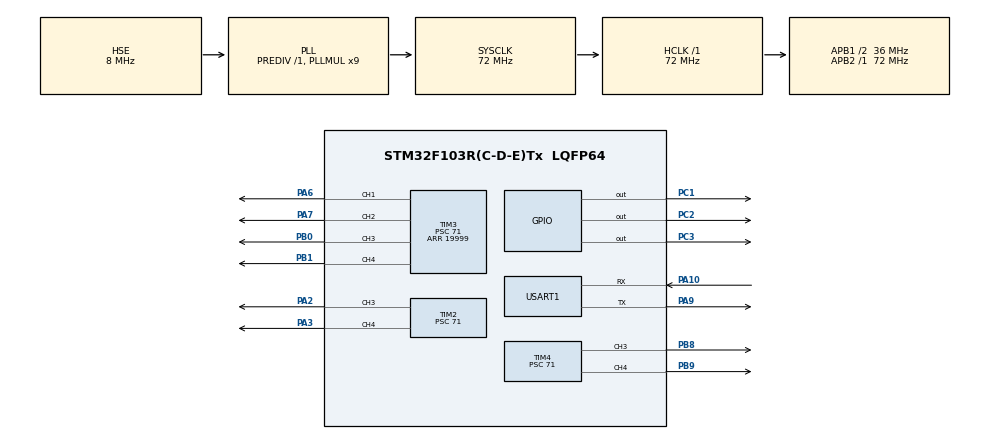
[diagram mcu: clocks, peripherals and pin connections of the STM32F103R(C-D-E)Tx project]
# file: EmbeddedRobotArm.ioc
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Mcu.Family=STM32F1
Mcu.Name=STM32F103R(C-D-E)Tx
Mcu.Package=LQFP64
NVIC.PriorityGroup=NVIC_PRIORITYGROUP_4
NVIC.USART1_IRQn=true\:0\:0\:false\:false\:true\:true\:true\:true
PA10.Mode=Asynchronous
PA10.Signal=USART1_RX
PA13.Mode=Serial_Wire
PA13.Signal=SYS_JTMS-SWDIO
PA14.Mode=Serial_Wire
PA14.Signal=SYS_JTCK-SWCLK
PA2.Signal=S_TIM2_CH3
PA3.Signal=S_TIM2_CH4
PA6.Signal=S_TIM3_CH1
PA7.Signal=S_TIM3_CH2
PA9.Mode=Asynchronous
PA9.Signal=USART1_TX
PB0.Signal=S_TIM3_CH3
PB1.Signal=S_TIM3_CH4
PB8.Signal=S_TIM4_CH3
PB9.Signal=S_TIM4_CH4
PC1.GPIO_PuPd=GPIO_PULLDOWN
PC1.GPIO_Speed=GPIO_SPEED_FREQ_HIGH
PC1.Signal=GPIO_Output
PC14-OSC32_IN.Mode=LSE-External-Oscillator
PC14-OSC32_IN.Signal=RCC_OSC32_IN
PC15-OSC32_OUT.Mode=LSE-External-Oscillator
PC15-OSC32_OUT.Signal=RCC_OSC32_OUT
PC2.GPIO_Speed=GPIO_SPEED_FREQ_LOW
PC2.PinState=GPIO_PIN_SET
PC2.Signal=GPIO_Output
PC3.GPIO_Speed=GPIO_SPEED_FREQ_LOW
PC3.PinState=GPIO_PIN_SET
PC3.Signal=GPIO_Output
PD0-OSC_IN.Mode=HSE-External-Oscillator
PD0-OSC_IN.Signal=RCC_OSC_IN
PD1-OSC_OUT.Mode=HSE-External-Oscillator
PD1-OSC_OUT.Signal=RCC_OSC_OUT
ProjectManager.HeapSize=0x200
ProjectManager.StackSize=0x400
ProjectManager.TargetToolchain=STM32CubeIDE
RCC.AHBFreq_Value=72000000
RCC.APB1CLKDivider=RCC_HCLK_DIV2
RCC.APB1Freq_Value=36000000
RCC.APB1TimFreq_Value=72000000
RCC.APB2Freq_Value=72000000
RCC.APB2TimFreq_Value=72000000
RCC.HCLKFreq_Value=72000000
RCC.PLLMUL=RCC_PLL_MUL9
RCC.PLLSourceVirtual=RCC_PLLSOURCE_HSE
RCC.SYSCLKFreq_VALUE=72000000
RCC.SYSCLKSource=RCC_SYSCLKSOURCE_PLLCLK
RCC.USBFreq_Value=72000000
SH.S_TIM2_CH3.0=TIM2_CH3,PWM Generation3 CH3
SH.S_TIM2_CH4.0=TIM2_CH4,PWM Generation4 CH4
SH.S_TIM3_CH1.0=TIM3_CH1,PWM Generation1 CH1
SH.S_TIM3_CH2.0=TIM3_CH2,PWM Generation2 CH2
SH.S_TIM3_CH3.0=TIM3_CH3,PWM Generation3 CH3
SH.S_TIM3_CH4.0=TIM3_CH4,PWM Generation4 CH4
SH.S_TIM4_CH3.0=TIM4_CH3,PWM Generation3 CH3
SH.S_TIM4_CH4.0=TIM4_CH4,PWM Generation4 CH4
TIM2.Channel-PWM\ Generation3\ CH3=TIM_CHANNEL_3
TIM2.Channel-PWM\ Generation4\ CH4=TIM_CHANNEL_4
TIM2.Period=19999
TIM2.Prescaler=71
TIM2.Pulse-PWM\ Generation3\ CH3=500
TIM2.Pulse-PWM\ Generation4\ CH4=500
TIM3.Channel-PWM\ Generation1\ CH1=TIM_CHANNEL_1
TIM3.Channel-PWM\ Generation2\ CH2=TIM_CHANNEL_2
TIM3.Channel-PWM\ Generation3\ CH3=TIM_CHANNEL_3
TIM3.Channel-PWM\ Generation4\ CH4=TIM_CHANNEL_4
TIM3.Period=19999
TIM3.Prescaler=71
TIM3.Pulse-PWM\ Generation1\ CH1=500
TIM3.Pulse-PWM\ Generation2\ CH2=500
TIM3.Pulse-PWM\ Generation3\ CH3=500
TIM3.Pulse-PWM\ Generation4\ CH4=500
TIM4.Channel-PWM\ Generation3\ CH3=TIM_CHANNEL_3
TIM4.Channel-PWM\ Generation4\ CH4=TIM_CHANNEL_4
TIM4.Period=19999
TIM4.Prescaler=71
TIM4.Pulse-PWM\ Generation3\ CH3=500
TIM4.Pulse-PWM\ Generation4\ CH4=500
USART1.VirtualMode=VM_ASYNC
VP_TIM2_VS_ClockSourceINT.Mode=Internal
VP_TIM3_VS_ClockSourceINT.Mode=Internal
VP_TIM4_VS_ClockSourceINT.Mode=Internal
board=custom

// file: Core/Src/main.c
/* USER CODE BEGIN Header */
/**
  ******************************************************************************
  * @file           : main.c
  * @brief          : Main program body
  ******************************************************************************
  * @attention
  *
  * Copyright (c) 2023 STMicroelectronics.
  * All rights reserved.
  *
  * This software is licensed under terms that can be found in the LICENSE file
  * in the root directory of this software component.
  * If no LICENSE file comes with this software, it is provided AS-IS.
  *
  ******************************************************************************
  */
/* USER CODE END Header */
#include "main.h"
#include "tim.h"
#include "usart.h"
#include "gpio.h"

void SystemClock_Config(void);

/* USER CODE BEGIN 0 */

void user_Function(uint8_t* string){
    uint8_t* pt = string + 1;
    uint8_t num = 0;
    while(*string != '+'){
        string++;
        pt = string + 1;
        num++;
    }
    if ((*pt == 'L' || *pt == 'l') &&
        (*(pt+1) == 'E' || *(pt+1) == 'e') &&
        (*(pt+2) == 'D' || *(pt+2) == 'd') &&
        (*(pt+3) == ',')) {
        pt = pt + 4;
        uint8_t idx;
        uint8_t led_num = 0;
        for (idx = 0; *(pt + idx) != ','; idx++) {
            led_num *= 10;
            led_num += *(pt + idx) - '0';
        }
        pt = pt + idx + 1;
        uint8_t led_sta = 0;
        for (idx = 0; *(pt + idx) != ','; idx++) {
            led_sta *= 10;
            led_sta += *(pt + idx) - '0';
        }
        if (led_num == 0) {
            if (led_sta == 0) {
                LED0_OFF();
                uint8_t TX_Str[] = "\r\nLED0: Close\r\n";
                HAL_UART_Transmit(&huart1, TX_Str, sizeof(TX_Str), 1000);
            } else if (led_sta == 1) {
                LED0_ON();
                uint8_t TX_Str[] = "\r\nLED0: Open\r\n";
                HAL_UART_Transmit(&huart1, TX_Str, sizeof(TX_Str), 1000);
            } else {
                uint8_t TX_Str[] = "\r\nLED0: Status Error\r\n";
                HAL_UART_Transmit(&huart1, TX_Str, sizeof(TX_Str), 1000);
            }
        } else if (led_num == 1) {
            if (led_sta == 0) {
                LED1_OFF();
                uint8_t TX_Str[] = "\r\nLED1: Close\r\n";
                HAL_UART_Transmit(&huart1, TX_Str, sizeof(TX_Str), 1000);
            } else if (led_sta == 1) {
                LED1_ON();
                uint8_t TX_Str[] = "\r\nLED1: Open\r\n";
                HAL_UART_Transmit(&huart1, TX_Str, sizeof(TX_Str), 1000);
            } else {
                uint8_t TX_Str[] = "\r\nLED1: Status Error\r\n";
                HAL_UART_Transmit(&huart1, TX_Str, sizeof(TX_Str), 1000);
            }
        } else {
            uint8_t TX_Str[] = "\r\nLED: Index Error\r\n";
            HAL_UART_Transmit(&huart1, TX_Str, sizeof(TX_Str), 1000);
        }
    }
    else if ((*pt == 'S' || *pt == 's') &&
             (*(pt+1) == 'E' || *(pt+1) == 'e') &&
             (*(pt+2) == 'R' || *(pt+2) == 'r') &&
             (*(pt+3) == ',')) {
        pt = pt + 4;
        uint8_t idx;
        uint8_t servo_num = 0;
        for (idx = 0; *(pt+idx)!= ','; idx++){
            servo_num *= 10;
            servo_num += *(pt+idx) - '0';
        }
        pt = pt + idx + 1;
        if (servo_num < 0 || servo_num > USED_SERVO_NUM){
            uint8_t TX_Str[] = "\r\nSERVO: Index Error\r\n";
            HAL_UART_Transmit(&huart1, TX_Str, sizeof(TX_Str), 1000);
        }
        else{
            uint16_t servo_pulse_t = 0;
            for (idx = 0; *(pt + idx) != ','; idx++) {
                servo_pulse_t *= 10;
                servo_pulse_t = servo_pulse_t + (uint16_t)(*(pt + idx) - '0');
            }

            servo_Move(servo_num, servo_pulse_t);

            uint8_t TX_Str[] = "\r\nSER: Move Successfully\r\n";
            HAL_UART_Transmit(&huart1, TX_Str, sizeof(TX_Str), 1000);
        }
    }
    else if ((*pt == 'S' || *pt == 's') &&
             (*(pt+1) == 'E' || *(pt+1) == 'e') &&
             (*(pt+2) == 'R' || *(pt+2) == 'r') &&
             (*(pt+3) == 'V' || *(pt+3) == 'v') &&
             (*(pt+4) == 'O' || *(pt+4) == 'o') &&
             (*(pt+5) == 'S' || *(pt+5) == 's') &&
             (*(pt+6) == ',')) {
        pt = pt + 7;
        uint8_t idx;
        uint8_t valid = 0;
        uint16_t angle_pulse[USED_SERVO_NUM] = {0};
        for(uint8_t i = 0; i < USED_SERVO_NUM; ++i){
            uint8_t flag = 0;
            for (idx = 0; *(pt + idx) != ','; idx++) {
                angle_pulse[i] *= 10;
                angle_pulse[i] = angle_pulse[i] + (uint16_t)(*(pt + idx) - '0');
            }
            if (angle_pulse[i] < 500 || angle_pulse[i] > 2500){
                valid = 1;
                break;
            }
            pt = pt + idx + 1;
            servo_pulse_last[i] = servo_pulse[i];
            servo_pulse[i] = angle_pulse[i];
        }
        if (valid == 0){
            uint8_t TX_Str[] = "\r\nSERVOS: Move Successfully\r\n";
            HAL_UART_Transmit(&huart1, TX_Str, sizeof(TX_Str), 1000);

            servo_Move2Goal();
        }
        else{
            uint8_t TX_Str[] = "\r\nSERVOS: Angle Setting Error\r\n";
            HAL_UART_Transmit(&huart1, TX_Str, sizeof(TX_Str), 1000);
        }
    }
    else{
        uint8_t TX_Str[] = "\r\nUnknown Command\r\n";
        HAL_UART_Transmit(&huart1, TX_Str, sizeof(TX_Str), 1000);
    }
}

/* USER CODE END 0 */

int main(void)
{

  /* MCU Configuration--------------------------------------------------------*/

  /* Reset of all peripherals, Initializes the Flash interface and the Systick. */
  HAL_Init();

  /* Configure the system clock */
  SystemClock_Config();

  /* Initialize all configured peripherals */
  MX_GPIO_Init();
  MX_TIM2_Init();
  MX_TIM3_Init();
  MX_TIM4_Init();
  MX_USART1_UART_Init();
  /* USER CODE BEGIN 2 */

    BEEP_ON();
    servo_Init();
    BEEP_OFF();

    uint8_t TX_Str1[] = "\r\nInit Successfully\r\n";
    uint8_t TX_Str2[] = "\r\nType: \"+FUNCTION,PARAMETER1,PARAMETER2,...\" to command the board. E.g.\"+LED,1,1,\" can open the LED1.\r\n";
    HAL_UART_Transmit(&huart1, TX_Str1, sizeof(TX_Str1), 1000);
    HAL_UART_Transmit(&huart1, TX_Str2, sizeof(TX_Str2), 1000);

    HAL_UART_Receive_IT(&huart1, (uint8_t *)rx_buffer, RXBUFFERSIZE);

  /* USER CODE END 2 */

  /* Infinite loop */
  while (1)
  {

    /* USER CODE BEGIN 3 */

      if (usart_rx_sta & 0x8000){
          user_Function(usart_rx_buf);
          usart_rx_sta = 0;
      }
      else {
          HAL_Delay(10);
      }

  }
  /* USER CODE END 3 */
}

void SystemClock_Config(void)
{
  RCC_OscInitTypeDef RCC_OscInitStruct = {0};
  RCC_ClkInitTypeDef RCC_ClkInitStruct = {0};

  /** Initializes the RCC Oscillators according to the specified parameters
  * in the RCC_OscInitTypeDef structure.
  */
  RCC_OscInitStruct.OscillatorType = RCC_OSCILLATORTYPE_HSE;
  RCC_OscInitStruct.HSEState = RCC_HSE_ON;
  RCC_OscInitStruct.HSEPredivValue = RCC_HSE_PREDIV_DIV1;
  RCC_OscInitStruct.HSIState = RCC_HSI_ON;
  RCC_OscInitStruct.PLL.PLLState = RCC_PLL_ON;
  RCC_OscInitStruct.PLL.PLLSource = RCC_PLLSOURCE_HSE;
  RCC_OscInitStruct.PLL.PLLMUL = RCC_PLL_MUL9;
  if (HAL_RCC_OscConfig(&RCC_OscInitStruct) != HAL_OK)
  {
    Error_Handler();
  }

  /** Initializes the CPU, AHB and APB buses clocks
  */
  RCC_ClkInitStruct.ClockType = RCC_CLOCKTYPE_HCLK|RCC_CLOCKTYPE_SYSCLK
                              |RCC_CLOCKTYPE_PCLK1|RCC_CLOCKTYPE_PCLK2;
  RCC_ClkInitStruct.SYSCLKSource = RCC_SYSCLKSOURCE_PLLCLK;
  RCC_ClkInitStruct.AHBCLKDivider = RCC_SYSCLK_DIV1;
  RCC_ClkInitStruct.APB1CLKDivider = RCC_HCLK_DIV2;
  RCC_ClkInitStruct.APB2CLKDivider = RCC_HCLK_DIV1;

  if (HAL_RCC_ClockConfig(&RCC_ClkInitStruct, FLASH_LATENCY_2) != HAL_OK)
  {
    Error_Handler();
  }
}

void Error_Handler(void)
{
  __disable_irq();
  while (1)
  {
  }
}
